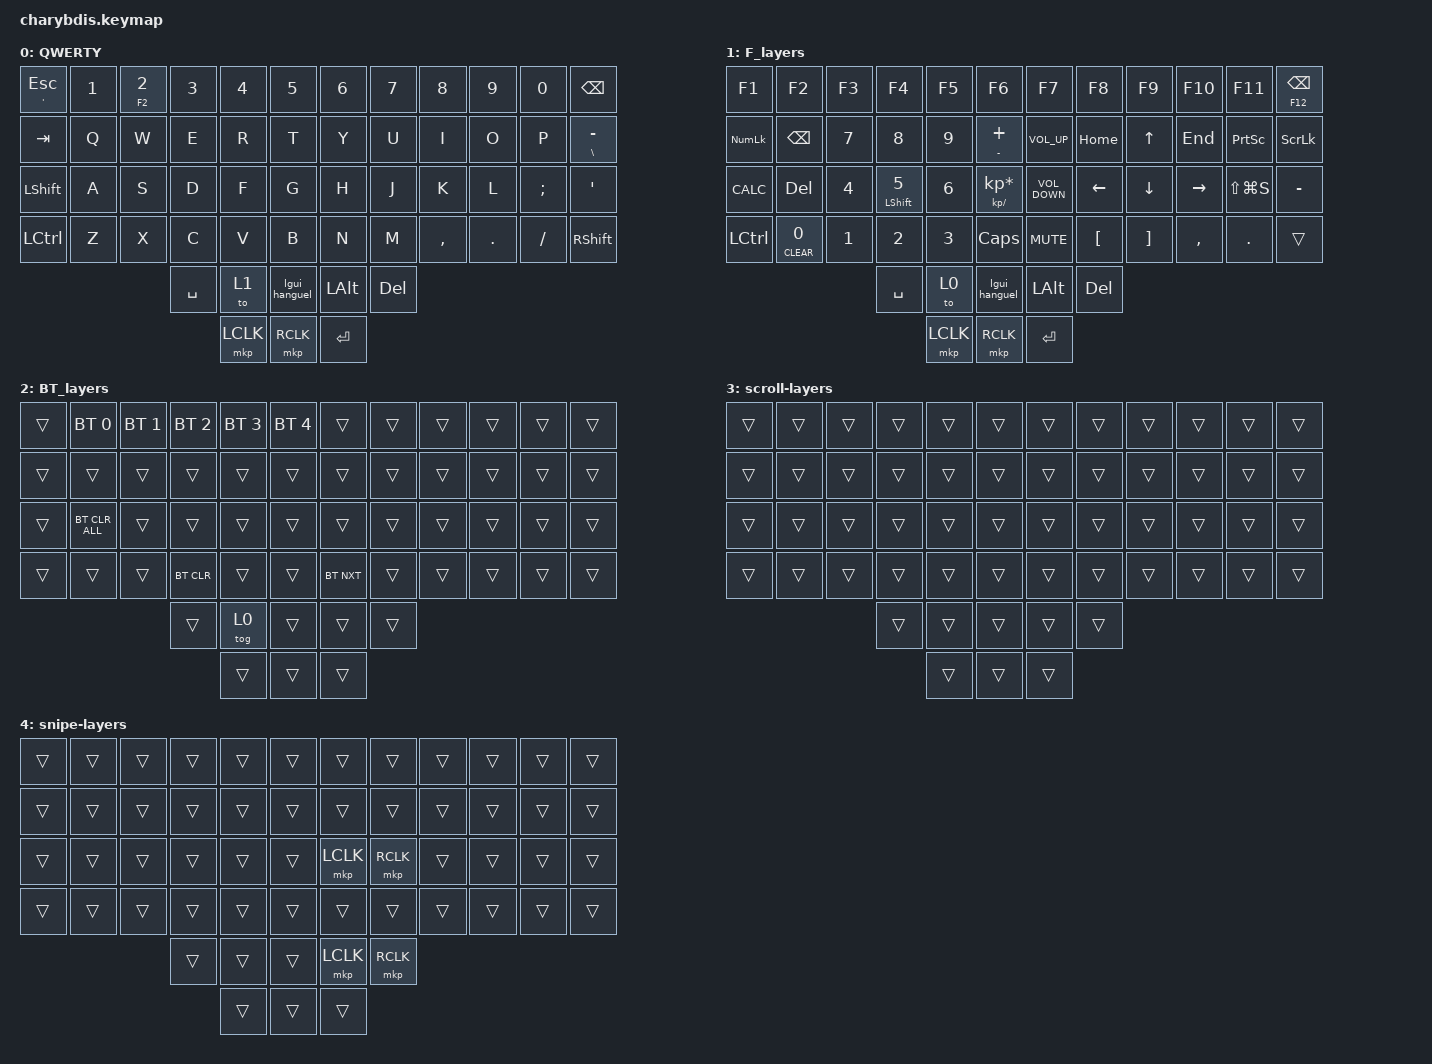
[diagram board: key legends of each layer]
#include <behaviors.dtsi>
#include <dt-bindings/zmk/bt.h>
#include <dt-bindings/zmk/keys.h>
#include <dt-bindings/zmk/pointing.h>
#include <dt-bindings/zmk/rgb.h>



/ {
    macros {
        To0_macro: To0_macro {
            compatible = "zmk,behavior-macro";
            label = "To0_macro";
            #binding-cells = <0>;
            bindings = <&rgb_ug RGB_EFR &to 0>;
        };

        To2_macro: To2_macro {
            compatible = "zmk,behavior-macro";
            label = "To2_macro";
            #binding-cells = <0>;
            bindings =
                <&to 2>,
                <&macro_wait_time 30>,
                <&rgb_ug RGB_COLOR_HSB(250,100,50)>;
        };
    };


    combos {
        compatible = "zmk,combos";

        Next {
            bindings = <&mkp MB4>;
            key-positions = <37 38>;
            layers = <0 1>;
        };

        Previous {
            bindings = <&mkp MB5>;
            key-positions = <39 38>;
            layers = <0 1>;
        };

        Parenthesis_L {
            bindings = <&kp LEFT_PARENTHESIS>;
            key-positions = <7 6>;
            layers = <0 2>;
        };

        Parenthesis_R {
            bindings = <&kp RIGHT_PARENTHESIS>;
            key-positions = <8 7>;
            layers = <0 1>;
        };

        Page_down {
            bindings = <&kp PAGE_DOWN>;
            key-positions = <45 46>;
            layers = <0 1>;
        };

        Page_up {
            bindings = <&kp PAGE_UP>;
            key-positions = <46 47>;
            layers = <0 1>;
        };

        Hanja {
            bindings = <&kp LANG_HANJA>;
            key-positions = <24 12>;
            layers = <0 1>;
        };

        Up {
            bindings = <&kp UP_ARROW>;
            key-positions = <22 34>;
        };

        Down {
            bindings = <&kp DOWN_ARROW>;
            key-positions = <34 46>;
        };

        Right {
            bindings = <&kp RIGHT_ARROW>;
            key-positions = <34 35>;
        };

        Left {
            bindings = <&kp LEFT_ARROW>;
            key-positions = <33 34>;
        };

        ScrollUp {
            bindings = <&msc SCRL_UP>;
            key-positions = <44 45>;
            layers = <0 2>;
        };

        ScrollDown {
            bindings = <&msc SCRL_DOWN>;
            key-positions = <43 44>;
            layers = <0 1>;
        };

        ScrollLeft {
            bindings = <&msc SCRL_LEFT>;
            key-positions = <39 40>;
            layers = <0 1>;
        };

        ScrollRight {
            bindings = <&msc SCRL_RIGHT>;
            key-positions = <40 41>;
            layers = <0 1>;
        };

        ScrollClick {
            bindings = <&mkp MB3>;
            key-positions = <53 54>;
        };

        LeftShift {
            bindings = <&kp LEFT_SHIFT>;
            key-positions = <27 28>;
            layers = <0 1>;
        };

        RightShift {
            bindings = <&kp RIGHT_SHIFT>;
            key-positions = <31 32>;
            layers = <0 1>;
        };

        TaskLeft {
            bindings = <&kp C_AL_PREVIOUS_TASK>;
            key-positions = <13 14>;
            layers = <0 1>;
        };

        TaskRight {
            bindings = <&kp C_AL_PREVIOUS_TASK>;
            key-positions = <14 15>;
            layers = <0 1>;
        };

        Equal {
            bindings = <&kp EQUAL>;
            key-positions = <10 11>;
            layers = <0 1>;
        };
    };

    behaviors {
        lgui_hanguel: lgui_hanguel {
            compatible = "zmk,behavior-tap-dance";
            label = "LGUI_HANGUEL";
            #binding-cells = <0>;
            bindings = <&kp LGUI>, <&kp LANG_HANGEUL>;
        };
    };

    

    keymap {
        compatible = "zmk,keymap";

        QWERTY {
            bindings = <
&mt SQT ESC       &kp N1  &mt F2 N2  &kp N3     &kp N4     &kp N5           &kp N6        &kp N7      &kp N8     &kp N9   &kp N0    &kp BACKSPACE
&kp TAB           &kp Q   &kp W      &kp E      &kp R      &kp T            &kp Y         &kp U       &kp I      &kp O    &kp P     &mt BSLH MINUS
&kp LEFT_SHIFT    &kp A   &kp S      &kp D      &kp F      &kp G            &kp H         &kp J       &kp K      &kp L    &kp SEMI  &kp SQT
&kp LEFT_CONTROL  &kp Z   &kp X      &kp C      &kp V      &kp B            &kp N         &kp M       &kp COMMA  &kp DOT  &kp FSLH  &kp RIGHT_SHIFT
                                     &kp SPACE  &to 1      &lgui_hanguel    &kp LEFT_ALT  &kp DELETE
                                                &mkp LCLK  &mkp RCLK        &kp ENTER
            >;
        };

        F_layers {
            bindings = <
&kp F1          &kp F2              &kp F3        &kp F4             &kp F5        &kp F6                       &kp F7             &kp F8            &kp F9             &kp F10    &kp F11          &mt F12 BACKSPACE
&kp KP_NUMLOCK  &kp BACKSPACE       &kp N7        &kp N8             &kp N9        &mt MINUS PLUS               &kp C_VOLUME_UP    &kp HOME          &kp UP             &kp END    &kp PRINTSCREEN  &kp SCROLLLOCK
&kp K_CALC      &kp DELETE          &kp NUMBER_4  &mt LEFT_SHIFT N5  &kp NUMBER_6  &mt KP_DIVIDE KP_MULTIPLY    &kp C_VOLUME_DOWN  &kp LEFT          &kp DOWN           &kp RIGHT  &kp LS(LG(S))    &kp MINUS
&kp LCTRL       &mt CLEAR NUMBER_0  &kp NUMBER_1  &kp NUMBER_2       &kp NUMBER_3  &kp CAPSLOCK                 &kp K_MUTE         &kp LEFT_BRACKET  &kp RIGHT_BRACKET  &kp COMMA  &kp DOT          &trans
                                                  &kp SPACE          &to 0         &lgui_hanguel                &kp LEFT_ALT       &kp DELETE
                                                                     &mkp LCLK     &mkp RCLK                    &kp ENTER
            >;
        };

        BT_layers {
            bindings = <
&trans  &bt BT_SEL 0    &bt BT_SEL 1  &bt BT_SEL 2  &bt BT_SEL 3  &bt BT_SEL 4    &trans      &trans  &trans  &trans  &trans  &trans
&trans  &trans          &trans        &trans        &trans        &trans          &trans      &trans  &trans  &trans  &trans  &trans
&trans  &bt BT_CLR_ALL  &trans        &trans        &trans        &trans          &trans      &trans  &trans  &trans  &trans  &trans
&trans  &trans          &trans        &bt BT_CLR    &trans        &trans          &bt BT_NXT  &trans  &trans  &trans  &trans  &trans
                                      &trans        &tog 0        &trans          &trans      &trans
                                                    &trans        &trans          &trans
            >;
        };

        scroll-layers {
            bindings = <
&trans  &trans  &trans  &trans  &trans  &trans    &trans  &trans  &trans  &trans  &trans  &trans
&trans  &trans  &trans  &trans  &trans  &trans    &trans  &trans  &trans  &trans  &trans  &trans
&trans  &trans  &trans  &trans  &trans  &trans    &trans  &trans  &trans  &trans  &trans  &trans
&trans  &trans  &trans  &trans  &trans  &trans    &trans  &trans  &trans  &trans  &trans  &trans
                        &trans  &trans  &trans    &trans  &trans
                                &trans  &trans    &trans
            >;
        };

        snipe-layers {
            bindings = <
&trans  &trans  &trans  &trans  &trans  &trans    &trans     &trans     &trans  &trans  &trans  &trans
&trans  &trans  &trans  &trans  &trans  &trans    &trans     &trans     &trans  &trans  &trans  &trans
&trans  &trans  &trans  &trans  &trans  &trans    &mkp LCLK  &mkp RCLK  &trans  &trans  &trans  &trans
&trans  &trans  &trans  &trans  &trans  &trans    &trans     &trans     &trans  &trans  &trans  &trans
                        &trans  &trans  &trans    &mkp LCLK  &mkp RCLK
                                &trans  &trans    &trans
            >;
        };
    };
};
